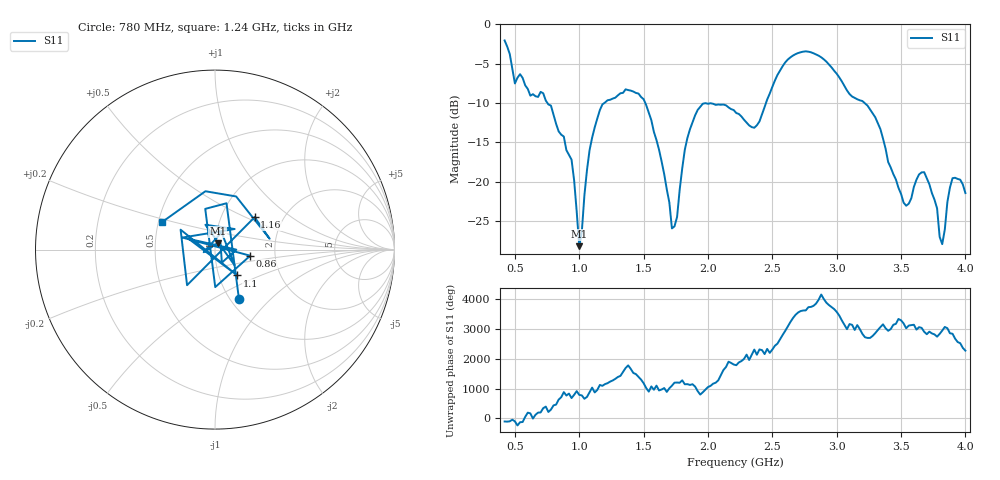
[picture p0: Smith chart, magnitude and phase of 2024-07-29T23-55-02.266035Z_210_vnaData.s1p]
!Created with skrf (http://scikit-rf.org).
# Hz S RI R 50.0
!freq ReS11 ImS11
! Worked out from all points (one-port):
!   180 points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, 420 MHz to 4 GHz, reference 50 ohm
!   lowest |S11| = -28.2 dB at 1 GHz (marker M1), VSWR 1.08, Z = 51.4 + j3.71 ohm
!   |S11| at or under -10 dB: 752.8 MHz to 1.194 GHz (441.5 MHz wide, 45.3 % of centre); 1.513 GHz to 2.451 GHz (937.5 MHz wide, 47.3 % of centre); 3.217 GHz to end of sweep
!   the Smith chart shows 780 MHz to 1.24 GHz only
!   S11 on the Smith chart (normalised r, x): 780 MHz: 1.10, -0.66; 860 MHz: 1.48, -0.10; 1.1 GHz: 1.22, -0.37; 1.16 GHz: 1.44, +0.56; 1.24 GHz: 0.52, +0.18
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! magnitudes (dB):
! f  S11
! 420 MHz  -2.0
! 500 MHz  -7.5
! 780 MHz  -10.3
! 860 MHz  -14.0
! 880 MHz  -14.3
! 940 MHz  -17.2
! 1 GHz  -28.2
! 1.1 GHz  -14.4
! 1.16 GHz  -10.9
! 1.24 GHz  -9.6
! 1.32 GHz  -8.8
! 1.52 GHz  -10.3
! 1.64 GHz  -17.4
! 1.72 GHz  -25.9
! 1.78 GHz  -21.1
! 1.84 GHz  -14.4
! 1.92 GHz  -10.9
! 2.22 GHz  -11.3
! 2.38 GHz  -12.8
! 2.66 GHz  -4.0
! 2.88 GHz  -4.2
! 3.12 GHz  -9.2
! 3.3 GHz  -11.8
! 3.56 GHz  -22.8
! 3.68 GHz  -18.8
! 3.82 GHz  -27.9
! 3.9 GHz  -19.5
! 4 GHz  -21.4
